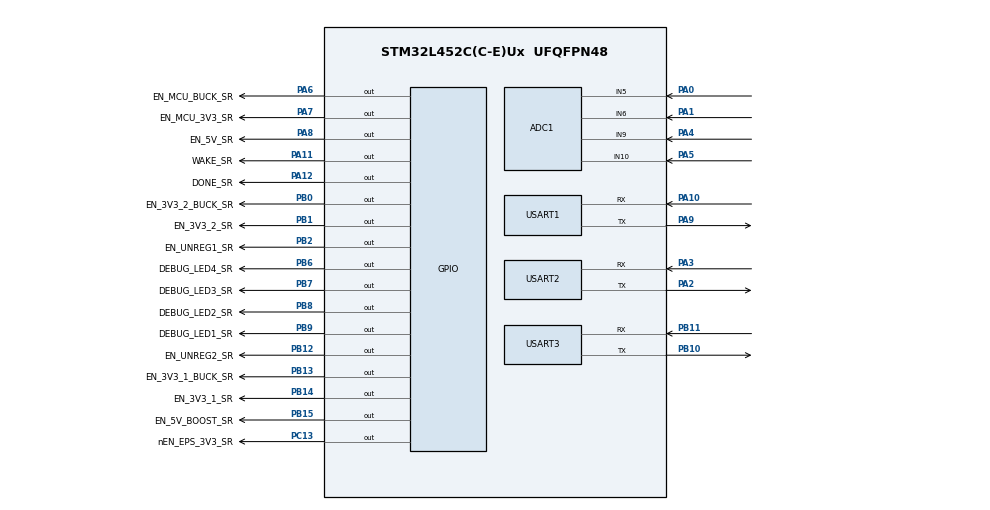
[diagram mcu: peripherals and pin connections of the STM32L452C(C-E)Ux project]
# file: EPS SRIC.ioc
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ADC1.Channel-0\#ChannelRegularConversion=ADC_CHANNEL_5
ADC1.Channel-1\#ChannelRegularConversion=ADC_CHANNEL_6
ADC1.Channel-2\#ChannelRegularConversion=ADC_CHANNEL_9
ADC1.Channel-3\#ChannelRegularConversion=ADC_CHANNEL_10
ADC1.Channel-4\#ChannelRegularConversion=ADC_CHANNEL_VBAT
ADC1.Channel-5\#ChannelRegularConversion=ADC_CHANNEL_VREFINT
ADC1.ContinuousConvMode=ENABLE
ADC1.DMAContinuousRequests=ENABLE
ADC1.EOCSelection=ADC_EOC_SEQ_CONV
ADC1.NbrOfConversion=6
ADC1.NbrOfConversionFlag=1
ADC1.OffsetNumber-1\#ChannelRegularConversion=ADC_OFFSET_NONE
ADC1.OffsetNumber-2\#ChannelRegularConversion=ADC_OFFSET_NONE
ADC1.OffsetNumber-3\#ChannelRegularConversion=ADC_OFFSET_NONE
ADC1.OffsetNumber-4\#ChannelRegularConversion=ADC_OFFSET_NONE
ADC1.OffsetNumber-5\#ChannelRegularConversion=ADC_OFFSET_NONE
ADC1.Rank-1\#ChannelRegularConversion=2
ADC1.Rank-2\#ChannelRegularConversion=3
ADC1.Rank-3\#ChannelRegularConversion=4
ADC1.Rank-4\#ChannelRegularConversion=5
ADC1.Rank-5\#ChannelRegularConversion=6
ADC1.SamplingTime-0\#ChannelRegularConversion=ADC_SAMPLETIME_247CYCLES_5
ADC1.SamplingTime-1\#ChannelRegularConversion=ADC_SAMPLETIME_247CYCLES_5
ADC1.SamplingTime-2\#ChannelRegularConversion=ADC_SAMPLETIME_247CYCLES_5
ADC1.SamplingTime-3\#ChannelRegularConversion=ADC_SAMPLETIME_247CYCLES_5
ADC1.SamplingTime-4\#ChannelRegularConversion=ADC_SAMPLETIME_247CYCLES_5
ADC1.SamplingTime-5\#ChannelRegularConversion=ADC_SAMPLETIME_247CYCLES_5
ADC1.master=1
Dma.ADC1.0.Direction=DMA_PERIPH_TO_MEMORY
Dma.ADC1.0.Instance=DMA1_Channel1
Dma.ADC1.0.MemDataAlignment=DMA_MDATAALIGN_HALFWORD
Dma.ADC1.0.MemInc=DMA_MINC_ENABLE
Dma.ADC1.0.Mode=DMA_NORMAL
Dma.ADC1.0.PeriphDataAlignment=DMA_PDATAALIGN_HALFWORD
Dma.ADC1.0.PeriphInc=DMA_PINC_DISABLE
Dma.ADC1.0.Priority=DMA_PRIORITY_MEDIUM
Dma.Request0=ADC1
Mcu.Family=STM32L4
Mcu.Name=STM32L452C(C-E)Ux
Mcu.Package=UFQFPN48
NVIC.DMA1_Channel1_IRQn=true\:0\:0\:false\:false\:true\:false\:true\:true
NVIC.PriorityGroup=NVIC_PRIORITYGROUP_4
NVIC.USART1_IRQn=true\:0\:0\:false\:false\:true\:true\:true\:true
NVIC.USART2_IRQn=true\:0\:0\:false\:false\:true\:true\:true\:true
NVIC.USART3_IRQn=true\:0\:0\:false\:false\:true\:true\:true\:true
PA0.Signal=ADCx_IN5
PA1.Signal=ADCx_IN6
PA10.Mode=Asynchronous
PA10.Signal=USART1_RX
PA11.GPIO_Label=WAKE_SR
PA11.Signal=GPIO_Output
PA12.GPIO_Label=DONE_SR
PA12.Signal=GPIO_Output
PA13\ (JTMS/SWDIO).Mode=Serial_Wire
PA13\ (JTMS/SWDIO).Signal=SYS_JTMS-SWDIO
PA14\ (JTCK/SWCLK).Mode=Serial_Wire
PA14\ (JTCK/SWCLK).Signal=SYS_JTCK-SWCLK
PA2.Mode=Asynchronous
PA2.Signal=USART2_TX
PA3.Mode=Asynchronous
PA3.Signal=USART2_RX
PA4.Signal=ADCx_IN9
PA5.Signal=ADCx_IN10
PA6.GPIO_Label=EN_MCU_BUCK_SR
PA6.PinState=GPIO_PIN_RESET
PA6.Signal=GPIO_Output
PA7.GPIO_Label=EN_MCU_3V3_SR
PA7.Signal=GPIO_Output
PA8.GPIO_Label=EN_5V_SR
PA8.Signal=GPIO_Output
PA9.Mode=Asynchronous
PA9.Signal=USART1_TX
PB0.GPIO_Label=EN_3V3_2_BUCK_SR
PB0.Signal=GPIO_Output
PB1.GPIO_Label=EN_3V3_2_SR
PB1.Signal=GPIO_Output
PB10.Mode=Asynchronous
PB10.Signal=USART3_TX
PB11.Mode=Asynchronous
PB11.Signal=USART3_RX
PB12.GPIO_Label=EN_UNREG2_SR
PB12.Signal=GPIO_Output
PB13.GPIO_Label=EN_3V3_1_BUCK_SR
PB13.Signal=GPIO_Output
PB14.GPIO_Label=EN_3V3_1_SR
PB14.Signal=GPIO_Output
PB15.GPIO_Label=EN_5V_BOOST_SR
PB15.Signal=GPIO_Output
PB2.GPIO_Label=EN_UNREG1_SR
PB2.Signal=GPIO_Output
PB6.GPIO_Label=DEBUG_LED4_SR
PB6.Signal=GPIO_Output
PB7.GPIO_Label=DEBUG_LED3_SR
PB7.Signal=GPIO_Output
PB8.GPIO_Label=DEBUG_LED2_SR
PB8.Signal=GPIO_Output
PB9.GPIO_Label=DEBUG_LED1_SR
PB9.Signal=GPIO_Output
PC13.GPIO_Label=nEN_EPS_3V3_SR
PC13.Signal=GPIO_Output
PC14-OSC32_IN\ (PC14).Mode=LSE-External-Oscillator
PC14-OSC32_IN\ (PC14).Signal=RCC_OSC32_IN
PC15-OSC32_OUT\ (PC15).Mode=LSE-External-Oscillator
PC15-OSC32_OUT\ (PC15).Signal=RCC_OSC32_OUT
PH0-OSC_IN\ (PH0).Mode=HSE-External-Oscillator
PH0-OSC_IN\ (PH0).Signal=RCC_OSC_IN
PH1-OSC_OUT\ (PH1).Mode=HSE-External-Oscillator
PH1-OSC_OUT\ (PH1).Signal=RCC_OSC_OUT
ProjectManager.HeapSize=0x200
ProjectManager.StackSize=0x400
ProjectManager.TargetToolchain=STM32CubeIDE
RCC.ADCFreq_Value=64000000
RCC.AHBFreq_Value=64000000
RCC.APB1Freq_Value=64000000
RCC.APB1TimFreq_Value=64000000
RCC.APB2Freq_Value=64000000
RCC.APB2TimFreq_Value=64000000
RCC.CortexFreq_Value=64000000
RCC.EnableCSSLSE=true
RCC.EnbaleCSS=true
RCC.HCLKFreq_Value=64000000
RCC.HSE_VALUE=16000000
RCC.HSI48_VALUE=48000000
RCC.HSI_VALUE=16000000
RCC.MSI_VALUE=4000000
RCC.PLLSourceVirtual=RCC_PLLSOURCE_HSE
RCC.RTCClockSelection=RCC_RTCCLKSOURCE_LSE
RCC.SYSCLKFreq_VALUE=64000000
RCC.SYSCLKSource=RCC_SYSCLKSOURCE_PLLCLK
RCC.USBFreq_Value=64000000
RCC.VCOOutputFreq_Value=128000000
RTC.Date=12
RTC.Month=RTC_MONTH_JUNE
RTC.WeekDay=RTC_WEEKDAY_THURSDAY
RTC.Year=25
SH.ADCx_IN10.0=ADC1_IN10,IN10-Single-Ended
SH.ADCx_IN5.0=ADC1_IN5,IN5-Single-Ended
SH.ADCx_IN6.0=ADC1_IN6,IN6-Single-Ended
SH.ADCx_IN9.0=ADC1_IN9,IN9-Single-Ended
USART1.VirtualMode-Asynchronous=VM_ASYNC
USART2.VirtualMode-Asynchronous=VM_ASYNC
USART3.VirtualMode-Asynchronous=VM_ASYNC
VP_ADC1_Vbat_Input.Mode=IN-Vbat
VP_ADC1_Vref_Input.Mode=IN-Vrefint
VP_RTC_VS_RTC_Activate.Mode=RTC_Enabled
VP_RTC_VS_RTC_Calendar.Mode=RTC_Calendar
board=custom

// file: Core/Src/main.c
/* USER CODE BEGIN Header */
/**
 ******************************************************************************
 * @file           : main.c
 * @brief          : Main program body
 ******************************************************************************
 * @attention
 *
 * Copyright (c) 2025 STMicroelectronics.
 * All rights reserved.
 *
 * This software is licensed under terms that can be found in the LICENSE file
 * in the root directory of this software component.
 * If no LICENSE file comes with this software, it is provided AS-IS.
 *
 ******************************************************************************
 */
/* USER CODE END Header */
#include "main.h"

/* USER CODE BEGIN Includes */
#include <stdio.h>
#include <string.h>
#include "sric_functions.h"

/* USER CODE END Includes */

/* USER CODE BEGIN PTD */
int _write(int file, char* p, int len)
{
	for(int i=0;i<len;i++)
	{
		while(!LL_USART_IsActiveFlag_TXE(USART1));
		LL_USART_TransmitData8(USART1, *(p+i));
	}
	return len;
}

/* USER CODE END PTD */

/* USER CODE BEGIN PV */
extern uint8_t usart1_rx_flag;					// DEBUG
extern uint8_t usart1_rx_data;					// DEBUG
uint8_t  flagDMATC = 0;							// DMA TRANSFER COMPLETE FLAG
uint16_t adcVal[6];								// ADC

extern uint8_t pmic_2_sric_rx_buffer[20];		// PMIC-SR RX BUFFER
extern uint8_t pmic_2_sric_rx_complete_flag;	// PMIC-SR COMPLETE FLAG
extern uint8_t obc_2_sric_rx_buffer[20];		// OBC-SR RX BUFFER
extern uint8_t obc_2_sric_rx_complete_flag;		// OBC-SR COMPLETE FLAG

uint8_t sric_2_pmic_tx_buffer[20];				// SRIC-PMIC TX BUFFER
uint8_t sric_2_obc_tx_buffer[20];				// SRIC-PMIC TX BUFFER

/* USER CODE END PV */

void SystemClock_Config(void);
void PeriphCommonClock_Config(void);
static void MX_GPIO_Init(void);
static void MX_DMA_Init(void);
static void MX_ADC1_Init(void);
static void MX_RTC_Init(void);
static void MX_USART1_UART_Init(void);
static void MX_USART2_UART_Init(void);
static void MX_USART3_UART_Init(void);

int main(void)
{

	/* MCU Configuration--------------------------------------------------------*/

	/* Reset of all peripherals, Initializes the Flash interface and the Systick. */
	LL_APB2_GRP1_EnableClock(LL_APB2_GRP1_PERIPH_SYSCFG);
	LL_APB1_GRP1_EnableClock(LL_APB1_GRP1_PERIPH_PWR);

	/* System interrupt init*/
	NVIC_SetPriorityGrouping(NVIC_PRIORITYGROUP_4);

	/* SysTick_IRQn interrupt configuration */
	NVIC_SetPriority(SysTick_IRQn, NVIC_EncodePriority(NVIC_GetPriorityGrouping(),15, 0));

	/* Configure the system clock */
	SystemClock_Config();

	/* Configure the peripherals common clocks */
	PeriphCommonClock_Config();

	/* Initialize all configured peripherals */
	MX_GPIO_Init();
	MX_DMA_Init();
	MX_ADC1_Init();
	MX_RTC_Init();
	MX_USART1_UART_Init();
	MX_USART2_UART_Init();
	MX_USART3_UART_Init();
	/* USER CODE BEGIN 2 */

	LL_USART_EnableIT_RXNE(USART1);				// DEBUG
	LL_USART_EnableIT_RXNE(USART2);				// Uart EPS-SR
	LL_USART_EnableIT_RXNE(USART3);				// Uart OBC-SR

	LL_DMA_ConfigAddresses(DMA1,				// DMA ADC
			LL_DMA_CHANNEL_1,
			LL_ADC_DMA_GetRegAddr(ADC1, LL_ADC_DMA_REG_REGULAR_DATA),
			(uint32_t)adcVal,
			LL_DMA_DIRECTION_PERIPH_TO_MEMORY);
	LL_DMA_SetDataLength(DMA1, LL_DMA_CHANNEL_1, 6);			// configure DMA length
	LL_DMA_EnableChannel(DMA1, LL_DMA_CHANNEL_1);				// enable DMA stream
	LL_ADC_Enable(ADC1);										// enable ADC
	LL_ADC_REG_StartConversion(ADC1);							// start conversion

	LL_GPIO_ResetOutputPin(nEN_EPS_3V3_SR_GPIO_Port,nEN_EPS_3V3_SR_Pin); // KEEP EPS ON

	sric_2_pmic_tx_buffer[0]=0xFE;								// HEADER SETUP
	sric_2_pmic_tx_buffer[1]=0X00;
	sric_2_obc_tx_buffer[0]=0xFB;
	sric_2_obc_tx_buffer[1]=0X00;
	/* USER CODE END 2 */

	/* Infinite loop */
	/* USER CODE BEGIN WHILE */
	while (1)
	{
		/* DMA ---------------------------------------------------------------------------------------*/
		while(!flagDMATC);
		// clear flag
		flagDMATC = 0;

		/* UART PMIC_2_SRIC --------------------------------------------------------------------------*/
		if(pmic_2_sric_rx_complete_flag == 1)
		{
			pmic_2_sric_rx_complete_flag = 0;
			if(PMIC_2_SRIC_Check_CHKSUM(&pmic_2_sric_rx_buffer[0]) == 1){
				PMIC_2_SRIC_Parsing(&pmic_2_sric_rx_buffer[0], &pm2sr);
			}
		}

		/* UART OBC_2_SRIC ---------------------------------------------------------------------------*/
		if(obc_2_sric_rx_complete_flag == 1)
		{
			obc_2_sric_rx_complete_flag = 0;
			if(OBC_2_SRIC_Check_CHKSUM(&obc_2_sric_rx_buffer[0]) == 1){
				OBC_2_SRIC_Parsing(&obc_2_sric_rx_buffer[0], &obc2sr);
			}
		}

		/* CONFIGURE SATELLITE POWER -----------------------------------------------------------------*/
		SRIC_CONFIG_SAT_POWER( &obc2sr,  &pm2sr );

		/* SATELLITE SRIC TASKS HERE -----------------------------------------------------------------*/
		/* SATELLITE SRIC TASKS HERE -----------------------------------------------------------------*/
		/* SATELLITE SRIC TASKS HERE -----------------------------------------------------------------*/
		/* SATELLITE SRIC TASKS HERE -----------------------------------------------------------------*/
		/* SATELLITE SRIC TASKS HERE -----------------------------------------------------------------*/
		/* SATELLITE SRIC TASKS HERE -----------------------------------------------------------------*/
		/* SATELLITE SRIC TASKS HERE -----------------------------------------------------------------*/
		/* SATELLITE SRIC TASKS HERE -----------------------------------------------------------------*/
		/* SATELLITE SRIC TASKS HERE -----------------------------------------------------------------*/
		/* SATELLITE SRIC TASKS HERE -----------------------------------------------------------------*/

		/* SEND DATA SRIC_2_PMIC ---------------------------------------------------------------------*/
		SEND_DATA_UART(&sric_2_pmic_tx_buffer[0], USART2, 20);// CONTAINS CHKSUM GENRATOR
		/* SEND DATA SRIC_2_OBC ----------------------------------------------------------------------*/
		SEND_DATA_UART(&sric_2_obc_tx_buffer[0], USART3, 20);

		/* USER CODE END WHILE */

	}
}

void SystemClock_Config(void)
{
	LL_FLASH_SetLatency(LL_FLASH_LATENCY_3);
	while(LL_FLASH_GetLatency()!= LL_FLASH_LATENCY_3)
	{
	}
	LL_PWR_SetRegulVoltageScaling(LL_PWR_REGU_VOLTAGE_SCALE1);
	while (LL_PWR_IsActiveFlag_VOS() != 0)
	{
	}
	LL_RCC_HSE_Enable();

	/* Wait till HSE is ready */
	while(LL_RCC_HSE_IsReady() != 1)
	{

	}
	LL_PWR_EnableBkUpAccess();
	LL_RCC_LSE_SetDriveCapability(LL_RCC_LSEDRIVE_LOW);
	LL_RCC_LSE_Enable();

	/* Wait till LSE is ready */
	while(LL_RCC_LSE_IsReady() != 1)
	{

	}
	LL_RCC_HSE_EnableCSS();
	LL_RCC_LSE_EnableCSS();
	LL_RCC_PLL_ConfigDomain_SYS(LL_RCC_PLLSOURCE_HSE, LL_RCC_PLLM_DIV_1, 8, LL_RCC_PLLR_DIV_2);
	LL_RCC_PLL_EnableDomain_SYS();
	LL_RCC_PLL_Enable();

	/* Wait till PLL is ready */
	while(LL_RCC_PLL_IsReady() != 1)
	{

	}
	LL_RCC_SetSysClkSource(LL_RCC_SYS_CLKSOURCE_PLL);

	/* Wait till System clock is ready */
	while(LL_RCC_GetSysClkSource() != LL_RCC_SYS_CLKSOURCE_STATUS_PLL)
	{

	}
	LL_RCC_SetAHBPrescaler(LL_RCC_SYSCLK_DIV_1);
	LL_RCC_SetAPB1Prescaler(LL_RCC_APB1_DIV_1);
	LL_RCC_SetAPB2Prescaler(LL_RCC_APB2_DIV_1);

	LL_Init1msTick(64000000);

	LL_SetSystemCoreClock(64000000);
}

void PeriphCommonClock_Config(void)
{
	LL_RCC_PLLSAI1_ConfigDomain_ADC(LL_RCC_PLLSOURCE_HSE, LL_RCC_PLLM_DIV_1, 8, LL_RCC_PLLSAI1R_DIV_2);
	LL_RCC_PLLSAI1_EnableDomain_ADC();
	LL_RCC_PLLSAI1_Enable();

	/* Wait till PLLSAI1 is ready */
	while(LL_RCC_PLLSAI1_IsReady() != 1)
	{

	}
}

static void MX_ADC1_Init(void)
{

	LL_ADC_InitTypeDef ADC_InitStruct = {0};
	LL_ADC_REG_InitTypeDef ADC_REG_InitStruct = {0};
	LL_ADC_CommonInitTypeDef ADC_CommonInitStruct = {0};

	LL_GPIO_InitTypeDef GPIO_InitStruct = {0};

	LL_RCC_SetADCClockSource(LL_RCC_ADC_CLKSOURCE_PLLSAI1);

	/* Peripheral clock enable */
	LL_AHB2_GRP1_EnableClock(LL_AHB2_GRP1_PERIPH_ADC);

	LL_AHB2_GRP1_EnableClock(LL_AHB2_GRP1_PERIPH_GPIOA);
	/**ADC1 GPIO Configuration
  PA0   ------> ADC1_IN5
  PA1   ------> ADC1_IN6
  PA4   ------> ADC1_IN9
  PA5   ------> ADC1_IN10
	 */
	GPIO_InitStruct.Pin = LL_GPIO_PIN_0|LL_GPIO_PIN_1|LL_GPIO_PIN_4|LL_GPIO_PIN_5;
	GPIO_InitStruct.Mode = LL_GPIO_MODE_ANALOG;
	GPIO_InitStruct.Pull = LL_GPIO_PULL_NO;
	LL_GPIO_Init(GPIOA, &GPIO_InitStruct);

	/* ADC1 DMA Init */

	/* ADC1 Init */
	LL_DMA_SetPeriphRequest(DMA1, LL_DMA_CHANNEL_1, LL_DMA_REQUEST_0);

	LL_DMA_SetDataTransferDirection(DMA1, LL_DMA_CHANNEL_1, LL_DMA_DIRECTION_PERIPH_TO_MEMORY);

	LL_DMA_SetChannelPriorityLevel(DMA1, LL_DMA_CHANNEL_1, LL_DMA_PRIORITY_MEDIUM);

	LL_DMA_SetMode(DMA1, LL_DMA_CHANNEL_1, LL_DMA_MODE_NORMAL);

	LL_DMA_SetPeriphIncMode(DMA1, LL_DMA_CHANNEL_1, LL_DMA_PERIPH_NOINCREMENT);

	LL_DMA_SetMemoryIncMode(DMA1, LL_DMA_CHANNEL_1, LL_DMA_MEMORY_INCREMENT);

	LL_DMA_SetPeriphSize(DMA1, LL_DMA_CHANNEL_1, LL_DMA_PDATAALIGN_HALFWORD);

	LL_DMA_SetMemorySize(DMA1, LL_DMA_CHANNEL_1, LL_DMA_MDATAALIGN_HALFWORD);

	/** Common config
	 */
	ADC_InitStruct.Resolution = LL_ADC_RESOLUTION_12B;
	ADC_InitStruct.DataAlignment = LL_ADC_DATA_ALIGN_RIGHT;
	ADC_InitStruct.LowPowerMode = LL_ADC_LP_MODE_NONE;
	LL_ADC_Init(ADC1, &ADC_InitStruct);
	ADC_REG_InitStruct.TriggerSource = LL_ADC_REG_TRIG_SOFTWARE;
	ADC_REG_InitStruct.SequencerLength = LL_ADC_REG_SEQ_SCAN_ENABLE_6RANKS;
	ADC_REG_InitStruct.SequencerDiscont = LL_ADC_REG_SEQ_DISCONT_DISABLE;
	ADC_REG_InitStruct.ContinuousMode = LL_ADC_REG_CONV_CONTINUOUS;
	ADC_REG_InitStruct.DMATransfer = LL_ADC_REG_DMA_TRANSFER_UNLIMITED;
	ADC_REG_InitStruct.Overrun = LL_ADC_REG_OVR_DATA_PRESERVED;
	LL_ADC_REG_Init(ADC1, &ADC_REG_InitStruct);
	LL_ADC_SetOverSamplingScope(ADC1, LL_ADC_OVS_DISABLE);
	LL_ADC_SetCommonPathInternalCh(__LL_ADC_COMMON_INSTANCE(ADC1), LL_ADC_PATH_INTERNAL_VREFINT|LL_ADC_PATH_INTERNAL_VBAT);
	ADC_CommonInitStruct.CommonClock = LL_ADC_CLOCK_ASYNC_DIV1;
	LL_ADC_CommonInit(__LL_ADC_COMMON_INSTANCE(ADC1), &ADC_CommonInitStruct);

	/* Disable ADC deep power down (enabled by default after reset state) */
	LL_ADC_DisableDeepPowerDown(ADC1);
	/* Enable ADC internal voltage regulator */
	LL_ADC_EnableInternalRegulator(ADC1);
	/* Delay for ADC internal voltage regulator stabilization. */
	/* Compute number of CPU cycles to wait for, from delay in us. */
	/* Note: Variable divided by 2 to compensate partially */
	/* CPU processing cycles (depends on compilation optimization). */
	/* Note: If system core clock frequency is below 200kHz, wait time */
	/* is only a few CPU processing cycles. */
	uint32_t wait_loop_index;
	wait_loop_index = ((LL_ADC_DELAY_INTERNAL_REGUL_STAB_US * (SystemCoreClock / (100000 * 2))) / 10);
	while(wait_loop_index != 0)
	{
		wait_loop_index--;
	}

	/** Configure Regular Channel
	 */
	LL_ADC_REG_SetSequencerRanks(ADC1, LL_ADC_REG_RANK_1, LL_ADC_CHANNEL_5);
	LL_ADC_SetChannelSamplingTime(ADC1, LL_ADC_CHANNEL_5, LL_ADC_SAMPLINGTIME_247CYCLES_5);
	LL_ADC_SetChannelSingleDiff(ADC1, LL_ADC_CHANNEL_5, LL_ADC_SINGLE_ENDED);

	/** Configure Regular Channel
	 */
	LL_ADC_REG_SetSequencerRanks(ADC1, LL_ADC_REG_RANK_2, LL_ADC_CHANNEL_6);
	LL_ADC_SetChannelSamplingTime(ADC1, LL_ADC_CHANNEL_6, LL_ADC_SAMPLINGTIME_247CYCLES_5);
	LL_ADC_SetChannelSingleDiff(ADC1, LL_ADC_CHANNEL_6, LL_ADC_SINGLE_ENDED);

	/** Configure Regular Channel
	 */
	LL_ADC_REG_SetSequencerRanks(ADC1, LL_ADC_REG_RANK_3, LL_ADC_CHANNEL_9);
	LL_ADC_SetChannelSamplingTime(ADC1, LL_ADC_CHANNEL_9, LL_ADC_SAMPLINGTIME_247CYCLES_5);
	LL_ADC_SetChannelSingleDiff(ADC1, LL_ADC_CHANNEL_9, LL_ADC_SINGLE_ENDED);

	/** Configure Regular Channel
	 */
	LL_ADC_REG_SetSequencerRanks(ADC1, LL_ADC_REG_RANK_4, LL_ADC_CHANNEL_10);
	LL_ADC_SetChannelSamplingTime(ADC1, LL_ADC_CHANNEL_10, LL_ADC_SAMPLINGTIME_247CYCLES_5);
	LL_ADC_SetChannelSingleDiff(ADC1, LL_ADC_CHANNEL_10, LL_ADC_SINGLE_ENDED);

	/** Configure Regular Channel
	 */
	LL_ADC_REG_SetSequencerRanks(ADC1, LL_ADC_REG_RANK_5, LL_ADC_CHANNEL_VBAT);
	LL_ADC_SetChannelSamplingTime(ADC1, LL_ADC_CHANNEL_VBAT, LL_ADC_SAMPLINGTIME_247CYCLES_5);
	LL_ADC_SetChannelSingleDiff(ADC1, LL_ADC_CHANNEL_VBAT, LL_ADC_SINGLE_ENDED);

	/** Configure Regular Channel
	 */
	LL_ADC_REG_SetSequencerRanks(ADC1, LL_ADC_REG_RANK_6, LL_ADC_CHANNEL_VREFINT);
	LL_ADC_SetChannelSamplingTime(ADC1, LL_ADC_CHANNEL_VREFINT, LL_ADC_SAMPLINGTIME_247CYCLES_5);
	LL_ADC_SetChannelSingleDiff(ADC1, LL_ADC_CHANNEL_VREFINT, LL_ADC_SINGLE_ENDED);

}

static void MX_RTC_Init(void)
{

	LL_RTC_InitTypeDef RTC_InitStruct = {0};
	LL_RTC_TimeTypeDef RTC_TimeStruct = {0};
	LL_RTC_DateTypeDef RTC_DateStruct = {0};

	if(LL_RCC_GetRTCClockSource() != LL_RCC_RTC_CLKSOURCE_LSE)
	{
		FlagStatus pwrclkchanged = RESET;
		/* Update LSE configuration in Backup Domain control register */
		/* Requires to enable write access to Backup Domain if necessary */
		if (LL_APB1_GRP1_IsEnabledClock (LL_APB1_GRP1_PERIPH_PWR) != 1U)
		{
			/* Enables the PWR Clock and Enables access to the backup domain */
			LL_APB1_GRP1_EnableClock(LL_APB1_GRP1_PERIPH_PWR);
			pwrclkchanged = SET;
		}
		if (LL_PWR_IsEnabledBkUpAccess () != 1U)
		{
			/* Enable write access to Backup domain */
			LL_PWR_EnableBkUpAccess();
			while (LL_PWR_IsEnabledBkUpAccess () == 0U)
			{
			}
		}
		LL_RCC_ForceBackupDomainReset();
		LL_RCC_ReleaseBackupDomainReset();
		LL_RCC_LSE_SetDriveCapability(LL_RCC_LSEDRIVE_LOW);
		LL_RCC_LSE_Enable();

		/* Wait till LSE is ready */
		while(LL_RCC_LSE_IsReady() != 1)
		{
		}
		LL_RCC_SetRTCClockSource(LL_RCC_RTC_CLKSOURCE_LSE);
		/* Restore clock configuration if changed */
		if (pwrclkchanged == SET)
		{
			LL_APB1_GRP1_DisableClock(LL_APB1_GRP1_PERIPH_PWR);
		}
	}

	/* Peripheral clock enable */
	LL_RCC_EnableRTC();

	/** Initialize RTC and set the Time and Date
	 */
	RTC_InitStruct.HourFormat = LL_RTC_HOURFORMAT_24HOUR;
	RTC_InitStruct.AsynchPrescaler = 127;
	RTC_InitStruct.SynchPrescaler = 255;
	LL_RTC_Init(RTC, &RTC_InitStruct);

	/** Initialize RTC and set the Time and Date
	 */
	RTC_TimeStruct.Hours = 0x0;
	RTC_TimeStruct.Minutes = 0x0;
	RTC_TimeStruct.Seconds = 0x0;

	LL_RTC_TIME_Init(RTC, LL_RTC_FORMAT_BCD, &RTC_TimeStruct);
	RTC_DateStruct.WeekDay = LL_RTC_WEEKDAY_THURSDAY;
	RTC_DateStruct.Month = LL_RTC_MONTH_JUNE;
	RTC_DateStruct.Day = 0x12;
	RTC_DateStruct.Year = 0x25;

	LL_RTC_DATE_Init(RTC, LL_RTC_FORMAT_BCD, &RTC_DateStruct);

}

static void MX_USART1_UART_Init(void)
{

	LL_USART_InitTypeDef USART_InitStruct = {0};

	LL_GPIO_InitTypeDef GPIO_InitStruct = {0};

	LL_RCC_SetUSARTClockSource(LL_RCC_USART1_CLKSOURCE_PCLK2);

	/* Peripheral clock enable */
	LL_APB2_GRP1_EnableClock(LL_APB2_GRP1_PERIPH_USART1);

	LL_AHB2_GRP1_EnableClock(LL_AHB2_GRP1_PERIPH_GPIOA);
	/**USART1 GPIO Configuration
  PA9   ------> USART1_TX
  PA10   ------> USART1_RX
	 */
	GPIO_InitStruct.Pin = LL_GPIO_PIN_9|LL_GPIO_PIN_10;
	GPIO_InitStruct.Mode = LL_GPIO_MODE_ALTERNATE;
	GPIO_InitStruct.Speed = LL_GPIO_SPEED_FREQ_VERY_HIGH;
	GPIO_InitStruct.OutputType = LL_GPIO_OUTPUT_PUSHPULL;
	GPIO_InitStruct.Pull = LL_GPIO_PULL_NO;
	GPIO_InitStruct.Alternate = LL_GPIO_AF_7;
	LL_GPIO_Init(GPIOA, &GPIO_InitStruct);

	/* USART1 interrupt Init */
	NVIC_SetPriority(USART1_IRQn, NVIC_EncodePriority(NVIC_GetPriorityGrouping(),0, 0));
	NVIC_EnableIRQ(USART1_IRQn);

	USART_InitStruct.BaudRate = 115200;
	USART_InitStruct.DataWidth = LL_USART_DATAWIDTH_8B;
	USART_InitStruct.StopBits = LL_USART_STOPBITS_1;
	USART_InitStruct.Parity = LL_USART_PARITY_NONE;
	USART_InitStruct.TransferDirection = LL_USART_DIRECTION_TX_RX;
	USART_InitStruct.HardwareFlowControl = LL_USART_HWCONTROL_NONE;
	USART_InitStruct.OverSampling = LL_USART_OVERSAMPLING_16;
	LL_USART_Init(USART1, &USART_InitStruct);
	LL_USART_ConfigAsyncMode(USART1);
	LL_USART_Enable(USART1);

}

static void MX_USART2_UART_Init(void)
{

	LL_USART_InitTypeDef USART_InitStruct = {0};

	LL_GPIO_InitTypeDef GPIO_InitStruct = {0};

	LL_RCC_SetUSARTClockSource(LL_RCC_USART2_CLKSOURCE_PCLK1);

	/* Peripheral clock enable */
	LL_APB1_GRP1_EnableClock(LL_APB1_GRP1_PERIPH_USART2);

	LL_AHB2_GRP1_EnableClock(LL_AHB2_GRP1_PERIPH_GPIOA);
	/**USART2 GPIO Configuration
  PA2   ------> USART2_TX
  PA3   ------> USART2_RX
	 */
	GPIO_InitStruct.Pin = LL_GPIO_PIN_2|LL_GPIO_PIN_3;
	GPIO_InitStruct.Mode = LL_GPIO_MODE_ALTERNATE;
	GPIO_InitStruct.Speed = LL_GPIO_SPEED_FREQ_VERY_HIGH;
	GPIO_InitStruct.OutputType = LL_GPIO_OUTPUT_PUSHPULL;
	GPIO_InitStruct.Pull = LL_GPIO_PULL_NO;
	GPIO_InitStruct.Alternate = LL_GPIO_AF_7;
	LL_GPIO_Init(GPIOA, &GPIO_InitStruct);

	/* USART2 interrupt Init */
	NVIC_SetPriority(USART2_IRQn, NVIC_EncodePriority(NVIC_GetPriorityGrouping(),0, 0));
	NVIC_EnableIRQ(USART2_IRQn);

	USART_InitStruct.BaudRate = 115200;
	USART_InitStruct.DataWidth = LL_USART_DATAWIDTH_8B;
	USART_InitStruct.StopBits = LL_USART_STOPBITS_1;
	USART_InitStruct.Parity = LL_USART_PARITY_NONE;
	USART_InitStruct.TransferDirection = LL_USART_DIRECTION_TX_RX;
	USART_InitStruct.HardwareFlowControl = LL_USART_HWCONTROL_NONE;
	USART_InitStruct.OverSampling = LL_USART_OVERSAMPLING_16;
	LL_USART_Init(USART2, &USART_InitStruct);
	LL_USART_ConfigAsyncMode(USART2);
	LL_USART_Enable(USART2);

}

static void MX_USART3_UART_Init(void)
{

	LL_USART_InitTypeDef USART_InitStruct = {0};

	LL_GPIO_InitTypeDef GPIO_InitStruct = {0};

	LL_RCC_SetUSARTClockSource(LL_RCC_USART3_CLKSOURCE_PCLK1);

	/* Peripheral clock enable */
	LL_APB1_GRP1_EnableClock(LL_APB1_GRP1_PERIPH_USART3);

	LL_AHB2_GRP1_EnableClock(LL_AHB2_GRP1_PERIPH_GPIOB);
	/**USART3 GPIO Configuration
  PB10   ------> USART3_TX
  PB11   ------> USART3_RX
	 */
	GPIO_InitStruct.Pin = LL_GPIO_PIN_10|LL_GPIO_PIN_11;
	GPIO_InitStruct.Mode = LL_GPIO_MODE_ALTERNATE;
	GPIO_InitStruct.Speed = LL_GPIO_SPEED_FREQ_VERY_HIGH;
	GPIO_InitStruct.OutputType = LL_GPIO_OUTPUT_PUSHPULL;
	GPIO_InitStruct.Pull = LL_GPIO_PULL_NO;
	GPIO_InitStruct.Alternate = LL_GPIO_AF_7;
	LL_GPIO_Init(GPIOB, &GPIO_InitStruct);

	/* USART3 interrupt Init */
	NVIC_SetPriority(USART3_IRQn, NVIC_EncodePriority(NVIC_GetPriorityGrouping(),0, 0));
	NVIC_EnableIRQ(USART3_IRQn);

	USART_InitStruct.BaudRate = 115200;
	USART_InitStruct.DataWidth = LL_USART_DATAWIDTH_8B;
	USART_InitStruct.StopBits = LL_USART_STOPBITS_1;
	USART_InitStruct.Parity = LL_USART_PARITY_NONE;
	USART_InitStruct.TransferDirection = LL_USART_DIRECTION_TX_RX;
	USART_InitStruct.HardwareFlowControl = LL_USART_HWCONTROL_NONE;
	USART_InitStruct.OverSampling = LL_USART_OVERSAMPLING_16;
	LL_USART_Init(USART3, &USART_InitStruct);
	LL_USART_ConfigAsyncMode(USART3);
	LL_USART_Enable(USART3);

}

static void MX_DMA_Init(void)
{

	/* Init with LL driver */
	/* DMA controller clock enable */
	LL_AHB1_GRP1_EnableClock(LL_AHB1_GRP1_PERIPH_DMA1);

	/* DMA interrupt init */
	/* DMA1_Channel1_IRQn interrupt configuration */
	NVIC_SetPriority(DMA1_Channel1_IRQn, NVIC_EncodePriority(NVIC_GetPriorityGrouping(),0, 0));
	NVIC_EnableIRQ(DMA1_Channel1_IRQn);

}

static void MX_GPIO_Init(void)
{
	LL_GPIO_InitTypeDef GPIO_InitStruct = {0};

	/* GPIO Ports Clock Enable */
	LL_AHB2_GRP1_EnableClock(LL_AHB2_GRP1_PERIPH_GPIOC);
	LL_AHB2_GRP1_EnableClock(LL_AHB2_GRP1_PERIPH_GPIOH);
	LL_AHB2_GRP1_EnableClock(LL_AHB2_GRP1_PERIPH_GPIOA);
	LL_AHB2_GRP1_EnableClock(LL_AHB2_GRP1_PERIPH_GPIOB);

	/**/
	LL_GPIO_ResetOutputPin(nEN_EPS_3V3_SR_GPIO_Port, nEN_EPS_3V3_SR_Pin);

	/**/
	LL_GPIO_ResetOutputPin(GPIOA, EN_MCU_BUCK_SR_Pin|EN_MCU_3V3_SR_Pin|EN_5V_SR_Pin|WAKE_SR_Pin
			|DONE_SR_Pin);

	/**/
	LL_GPIO_ResetOutputPin(GPIOB, EN_3V3_2_BUCK_SR_Pin|EN_3V3_2_SR_Pin|EN_UNREG1_SR_Pin|EN_UNREG2_SR_Pin
			|EN_3V3_1_BUCK_SR_Pin|EN_3V3_1_SR_Pin|EN_5V_BOOST_SR_Pin|DEBUG_LED4_SR_Pin
			|DEBUG_LED3_SR_Pin|DEBUG_LED2_SR_Pin|DEBUG_LED1_SR_Pin);

	/**/
	GPIO_InitStruct.Pin = nEN_EPS_3V3_SR_Pin;
	GPIO_InitStruct.Mode = LL_GPIO_MODE_OUTPUT;
	GPIO_InitStruct.Speed = LL_GPIO_SPEED_FREQ_LOW;
	GPIO_InitStruct.OutputType = LL_GPIO_OUTPUT_PUSHPULL;
	GPIO_InitStruct.Pull = LL_GPIO_PULL_NO;
	LL_GPIO_Init(nEN_EPS_3V3_SR_GPIO_Port, &GPIO_InitStruct);

	/**/
	GPIO_InitStruct.Pin = EN_MCU_BUCK_SR_Pin|EN_MCU_3V3_SR_Pin|EN_5V_SR_Pin|WAKE_SR_Pin
			|DONE_SR_Pin;
	GPIO_InitStruct.Mode = LL_GPIO_MODE_OUTPUT;
	GPIO_InitStruct.Speed = LL_GPIO_SPEED_FREQ_LOW;
	GPIO_InitStruct.OutputType = LL_GPIO_OUTPUT_PUSHPULL;
	GPIO_InitStruct.Pull = LL_GPIO_PULL_NO;
	LL_GPIO_Init(GPIOA, &GPIO_InitStruct);

	/**/
	GPIO_InitStruct.Pin = EN_3V3_2_BUCK_SR_Pin|EN_3V3_2_SR_Pin|EN_UNREG1_SR_Pin|EN_UNREG2_SR_Pin
			|EN_3V3_1_BUCK_SR_Pin|EN_3V3_1_SR_Pin|EN_5V_BOOST_SR_Pin|DEBUG_LED4_SR_Pin
			|DEBUG_LED3_SR_Pin|DEBUG_LED2_SR_Pin|DEBUG_LED1_SR_Pin;
	GPIO_InitStruct.Mode = LL_GPIO_MODE_OUTPUT;
	GPIO_InitStruct.Speed = LL_GPIO_SPEED_FREQ_LOW;
	GPIO_InitStruct.OutputType = LL_GPIO_OUTPUT_PUSHPULL;
	GPIO_InitStruct.Pull = LL_GPIO_PULL_NO;
	LL_GPIO_Init(GPIOB, &GPIO_InitStruct);

}

void Error_Handler(void)
{
	__disable_irq();
	while (1)
	{
	}
}
